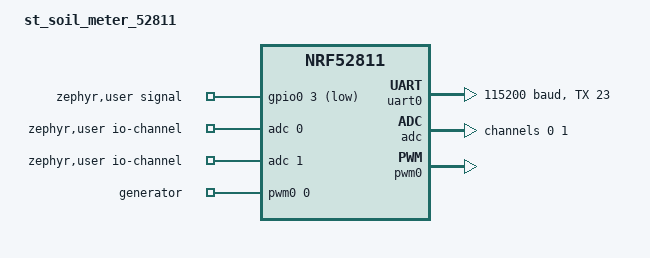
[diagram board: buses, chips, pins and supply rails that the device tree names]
// Copyright (c) 2023 Nordic Semiconductor ASA
// SPDX-License-Identifier: Apache-2.0

/dts-v1/;
#include <nordic/nrf52811_qfaa.dtsi>

/ {
	model = "st_soil_meter_52811";
	compatible = "stefan-tobiasiewicz,st-soil-meter-52811";

	zephyr,user{
		io-channels = <&adc 0>, <&adc 1>;
		signal-gpios = <&gpio0 3 GPIO_ACTIVE_LOW>;
        pwms = <&pwm0 0 1000 PWM_POLARITY_NORMAL>;
        pwm-names = "generator";
	};

	chosen {
		zephyr,sram = &sram0;
		zephyr,flash = &flash0;
		zephyr,code-partition = &slot0_partition;
		zephyr,console = &uart0;
	};
};

&gpio0 {
	status = "okay";
};

&uart0 {
	status = "okay";
	current-speed = <115200>;
	tx-pin = < 23 >;
};

&adc {
	status = "okay";
	#address-cells = <1>;
	#size-cells = <0>;

	channel@0 {
		reg = <0>;
		zephyr,gain = "ADC_GAIN_1_6";
		zephyr,reference = "ADC_REF_INTERNAL";
		zephyr,acquisition-time = <ADC_ACQ_TIME_DEFAULT>;
		zephyr,input-positive = <NRF_SAADC_AIN3>; /* P0.05 */
		zephyr,resolution = <14>;
	};

	channel@1 {
		reg = <1>;
		zephyr,gain = "ADC_GAIN_1_6";
		zephyr,reference = "ADC_REF_INTERNAL";
		zephyr,acquisition-time = <ADC_ACQ_TIME_DEFAULT>;
		zephyr,input-positive = <NRF_SAADC_VDD>; /* P0.04 */
		zephyr,resolution = <14>;
	};
};

&pwm0 {
    status = "okay";
    ch0-pin = < 10 >;
};

&flash0 {
	partitions {
		compatible = "fixed-partitions";
		#address-cells = <1>;
		#size-cells = <1>;

		boot_partition: partition@0 {
			label = "mcuboot";
			reg = <0x0 0xc000>;
		};
		slot0_partition: partition@c000 {
			label = "image-0";
			reg = <0xc000 0xa000>;
		};
		slot1_partition: partition@16000 {
			label = "image-1";
			reg = <0x16000 0xa000>;
		};
		scratch_partition: partition@20000 {
			label = "image-scratch";
			reg = <0x20000 0xa000>;
		};
		storage_partition: partition@2a000 {
			label = "storage";
			reg = <0x2a000 0x6000>;
		};
	};
};

